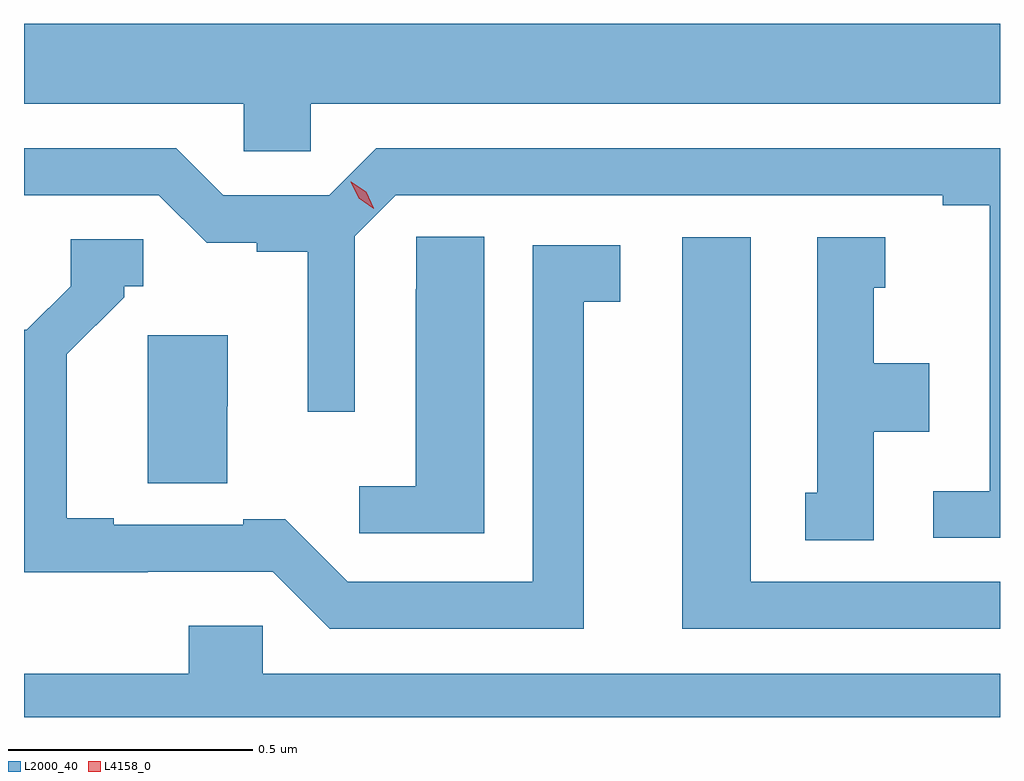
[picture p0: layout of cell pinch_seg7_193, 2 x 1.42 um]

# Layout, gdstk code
import gdstk
lib = gdstk.Library(unit=1e-6, precision=1e-09)
def P(c, l, *ps):  # polygons
    for p in ps: c.add(gdstk.Polygon(p, *l))
L2000_40 = (2000, 40)
L4158_0 = (4158, 0)

pinch_seg7_193 = lib.new_cell('pinch_seg7_193')
P(pinch_seg7_193, L2000_40, [(1131.597,1011.272),(1133.009,1011.272),(1133.009,1011.436),(1131.009,1011.436),(1131.009,1011.272),(1131.459,1011.272),(1131.459,1011.174),(1131.597,1011.174)],
  [(1133.009,1011.18),(1131.731,1011.18),(1131.635,1011.084),(1131.417,1011.084),(1131.321,1011.18),(1131.009,1011.18),(1131.009,1011.084),(1131.285,1011.084),(1131.383,1010.987),(1131.486,1010.987),(1131.486,1010.968),(1131.59,1010.968),(1131.59,1010.64),(1131.687,1010.64),(1131.687,1011),(1131.771,1011.084),(1132.892,1011.084),(1132.892,1011.064),(1132.988,1011.064),(1132.988,1010.478),(1132.872,1010.478),(1132.872,1010.382),(1133.009,1010.382)],
  [(1131.952,1010.999),(1131.813,1010.999),(1131.813,1010.891),(1131.812,1010.891),(1131.812,1010.488),(1131.696,1010.488),(1131.696,1010.391),(1131.952,1010.391)],
  [(1132.75,1010.6),(1132.864,1010.6),(1132.864,1010.74),(1132.75,1010.74),(1132.75,1010.895),(1132.774,1010.895),(1132.774,1010.998),(1132.634,1010.998),(1132.634,1010.475),(1132.61,1010.475),(1132.61,1010.377),(1132.75,1010.377)],
  [(1133.009,1010.292),(1132.498,1010.292),(1132.498,1010.998),(1132.358,1010.998),(1132.358,1010.196),(1133.009,1010.196)],
  [(1132.156,1010.866),(1132.231,1010.866),(1132.231,1010.982),(1132.052,1010.982),(1132.052,1010.292),(1131.672,1010.292),(1131.544,1010.42),(1131.458,1010.42),(1131.458,1010.409),(1131.193,1010.409),(1131.193,1010.422),(1131.097,1010.422),(1131.097,1010.758),(1131.214,1010.875),(1131.214,1010.898),(1131.253,1010.898),(1131.253,1010.994),(1131.105,1010.994),(1131.105,1010.898),(1131.015,1010.808),(1131.009,1010.808),(1131.009,1010.312),(1131.263,1010.312),(1131.263,1010.313),(1131.519,1010.313),(1131.636,1010.196),(1132.156,1010.196)],
  [(1131.426,1010.652),(1131.427,1010.652),(1131.427,1010.797),(1131.263,1010.797),(1131.263,1010.494),(1131.426,1010.494)],
  [(1133.009,1010.104),(1131.498,1010.104),(1131.498,1010.202),(1131.347,1010.202),(1131.347,1010.104),(1131.009,1010.104),(1131.009,1010.014),(1133.009,1010.014)])
P(pinch_seg7_193, L4158_0, [(1131.726,1011.056),(1131.695,1011.078),(1131.679,1011.112),(1131.679,1011.112),(1131.68,1011.112),(1131.71,1011.091),(1131.726,1011.057),(1131.726,1011.056)])

lib.write_gds('pinch_seg7_193.gds')
